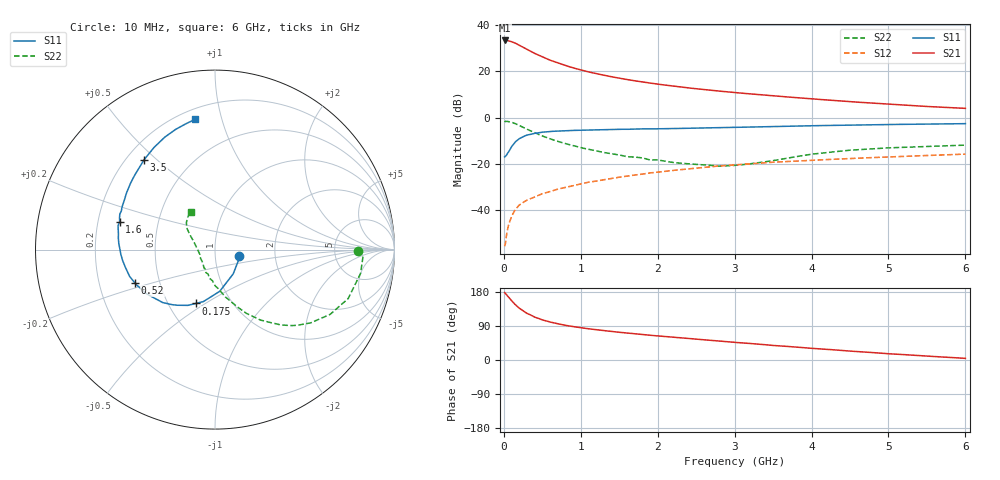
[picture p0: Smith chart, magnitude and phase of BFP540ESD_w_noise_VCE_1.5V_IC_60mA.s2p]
! Infineon Technologies  Discrete & RF Semiconductors
! BFP540ESD
! VCE =  1.5 V,  IC =  60 mA
! Common Emitter S-Parameters:  Nov 2015
# GHz  S  MA  R  50
!  f  S11  S21  S12  S22
! GHz  MAG  ANG  MAG  ANG  MAG  ANG  MAG  ANG
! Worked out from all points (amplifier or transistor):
!   210 points, 10 MHz to 6 GHz, reference 50 ohm
!   highest |S21| = 33.5 dB at 10 MHz (marker M1)
!   |S21| within 3 dB of that: start of sweep to 252.5 MHz
!   unconditionally stable (mu >= 1): start of sweep to 42.11 MHz; 1.01 GHz to end of sweep
!   at 185 MHz: K = 0.52, MSG = 35.2 dB, |S12| = -38.6 dB
!   at 1.52 GHz: K = 1.09, MAG = 19.6 dB, |S12| = -25.8 dB
!   at 6 GHz: K = 1.16, MAG = 7.6 dB, |S12| = -15.9 dB
!   lowest NFmin = 2.01 dB at 900 MHz
!   S11 on the Smith chart (normalised r, x): 10 MHz: 1.31, -0.09; 175 MHz: 0.68, -0.46; 520 MHz: 0.36, -0.18; 1.6 GHz: 0.29, +0.13; 3.5 GHz: 0.27, +0.46; 6 GHz: 0.26, +0.83
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0.01  0.139 -14.7  47.24 177.9  0.0016 111.5  0.7949 -0.6
0.05  0.1692 -53.2  46.93 168.2  0.0039 89.3  0.8218 -9.3
0.1  0.2337 -83.5  44.63 156.3  0.007 78.2  0.7906 -20.2
0.15  0.2969 -102.6  41.2 145.8  0.01 71.9  0.7358 -29.4
0.175  0.3191 -109.8  39.16 141.5  0.0112 69.6  0.702 -33.2
0.2  0.3457 -116.0  37.35 136.8  0.0125 67.8  0.6717 -37.4
0.22  0.3595 -120.3  35.79 134.0  0.0132 66.9  0.6475 -39.8
0.3  0.4149 -134.7  30.28 123.1  0.016 62.8  0.5572 -48.9
0.4  0.4528 -146.8  24.76 113.2  0.0187 62.3  0.467 -57.2
0.52  0.4829 -157.3  20.12 104.8  0.0226 61.0  0.3858 -64.6
0.6  0.4987 -162.6  17.63 100.2  0.0245 60.9  0.3436 -68.6
0.7  0.5077 -168.1  15.35 95.5  0.0277 61.1  0.3031 -72.8
0.8  0.5172 -172.7  13.45 91.5  0.0302 62.5  0.2705 -77.6
1.02  0.5308 179.1  10.61 84.7  0.0368 61.8  0.2174 -85.4
1.3  0.5441 171.2  8.293 77.6  0.0444 61.0  0.1735 -94.8
1.6  0.5538 163.6  6.692 71.2  0.0532 59.9  0.1409 -106.0
2.02  0.5701 155.0  5.252 63.2  0.0654 57.2  0.1179 -121.5
3.1  0.6152 135.0  3.372 45.2  0.0959 47.9  0.0944 -176.6
3.5  0.6381 128.2  2.956 38.4  0.1067 43.7  0.1156 164.3
4.1  0.6668 119.4  2.473 29.5  0.1196 37.9  0.1663 148.4
5.1  0.7073 107.1  1.908 15.4  0.1411 28.3  0.2221 135.4
6  0.7352 98.5  1.58 4.3  0.1601 21.2  0.2509 122.8
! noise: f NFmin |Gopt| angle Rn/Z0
0.9  2.01  0.53  -140  0.17
1.8  2.16  0.55  -142  0.17
2.4  2.22  0.56  -131  0.22
3  2.36  0.58  -122  0.31
4  2.43  0.64  -102  0.57
5  2.56  0.7  -86  0.85
6  3.02  0.65  -82  1.34
